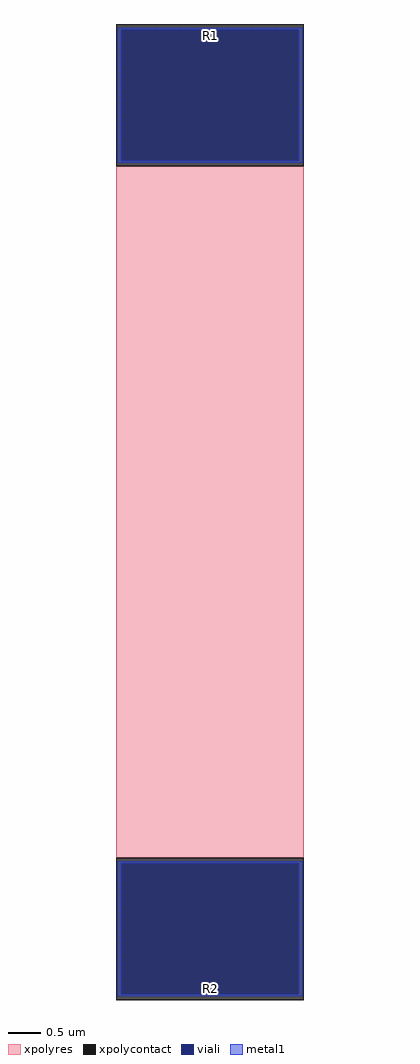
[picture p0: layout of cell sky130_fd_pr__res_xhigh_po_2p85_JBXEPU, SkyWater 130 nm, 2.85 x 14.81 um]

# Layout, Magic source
magic
tech sky130A
magscale 1 2
<< xpolycontact >>
rect -285 1049 285 1481
rect -285 -1481 285 -1049
<< xpolyres >>
rect -285 -1049 285 1049
<< viali >>
rect -269 1066 269 1463
rect -269 -1463 269 -1066
<< metal1 >>
rect -281 1463 281 1469
rect -281 1066 -269 1463
rect 269 1066 281 1463
rect -281 1060 281 1066
rect -281 -1066 281 -1060
rect -281 -1463 -269 -1066
rect 269 -1463 281 -1066
rect -281 -1469 281 -1463
<< labels >>
rlabel xpolycontact 0 1446 0 1446 0 R1
port 1 nsew
rlabel xpolycontact 0 -1446 0 -1446 0 R2
port 2 nsew
<< properties >>
string gencell sky130_fd_pr__res_xhigh_po_2p85
string library sky130
string parameters w 2.850 l 10.65 m 1 nx 1 wmin 2.850 lmin 0.50 class resistor rho 2000 val 7.605k dummy 0 dw 0.0 term 188.2 sterm 0.0 caplen 0 wmax 2.850 guard 0 glc 1 grc 1 gtc 1 gbc 1 compatible {sky130_fd_pr__res_xhigh_po_0p35  sky130_fd_pr__res_xhigh_po_0p69 sky130_fd_pr__res_xhigh_po_1p41  sky130_fd_pr__res_xhigh_po_2p85 sky130_fd_pr__res_xhigh_po_5p73} snake 0 full_metal 1 n_guard 0 hv_guard 0 vias 1 viagb 0 viagt 0 viagl 0 viagr 0 doports 1
<< end >>
